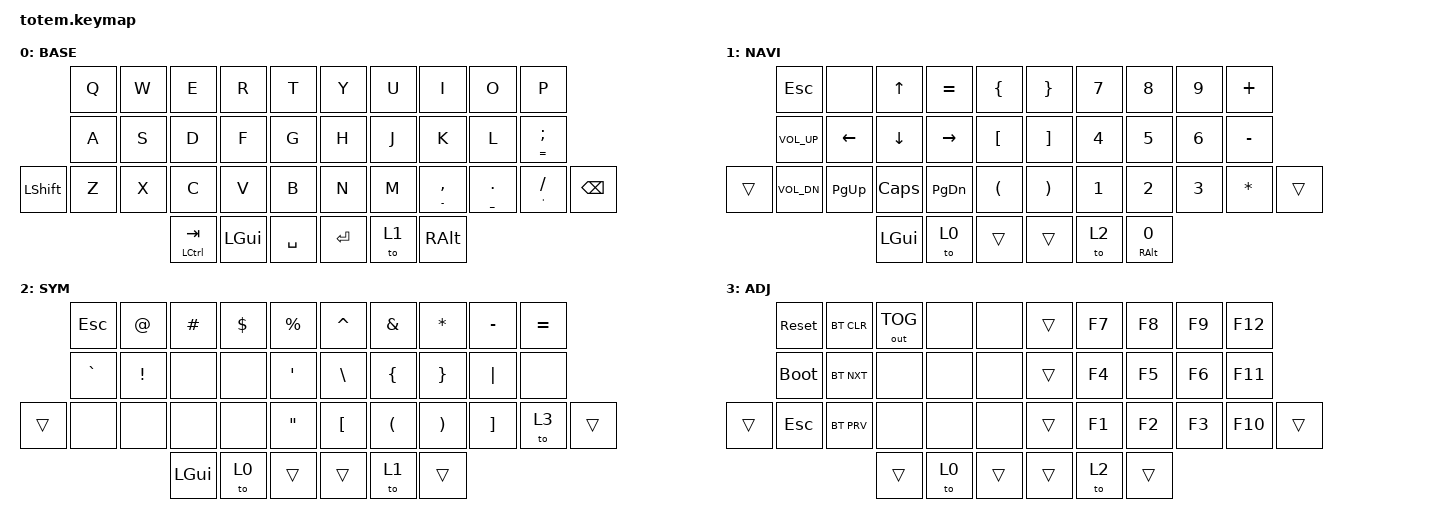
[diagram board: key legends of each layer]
//
//                                                        ▀▀▀▀▀     ▀▀▀▀▀          ▀▀█▀▀
//                                                        ▄▀▀▀▄  ▄  ▄▀▀▀▄  ▄  ▄▀▀▀▄  █  ▄▀▀▀▄
//                                                        █   █  █  █   █  █  █   █  █  █   █
//                                                         ▀▀▀   █   ▀▀▀   █   ▀▀▀   ▀   ▀▀▀
//                                                               █      ▄▄▄█▄▄▄    █   █  
//                                                               ▀      █  █  █     █▄█
//                                                             ▀▀▀▀▀    █  █  █      ▀
//                                                                      ▀  ▀  ▀
//
// ▄▄▄▄▄▄▄▄▄▄▄▄▄▄▄▄▄▄▄▄▄▄▄▄▄▄▄▄▄▄▄▄▄▄▄▄▄▄▄▄▄▄▄▄▄▄▄▄▄▄▄▄▄▄▄▄▄▄▄▄▄▄▄▄▄▄▄▄▄▄▄▄▄▄▄▄▄▄▄▄▄▄▄▄▄▄▄▄▄▄▄▄▄▄▄▄▄▄▄▄▄▄▄▄▄▄▄▄▄▄▄▄▄▄▄▄▄▄▄▄▄▄▄▄▄▄▄▄▄▄▄▄▄▄▄▄▄▄▄▄▄▄▄▄▄▄▄▄▄

#include <behaviors.dtsi>
#include <dt-bindings/zmk/bt.h>
#include <dt-bindings/zmk/keys.h>
#include <dt-bindings/zmk/outputs.h>

#define BASE 0
#define NAV  1
#define SYM  2
#define ADJ  3
#define TVP1 4
#define TVP2 5

&mt {
    quick-tap-ms = <100>;
    global-quick-tap;
    flavor = "tap-preferred";
    tapping-term-ms = <170>;
};

/ {
    combos { compatible = "zmk,combos"; };

    macros {
        gif: gif {
            label = "giphy";
            compatible = "zmk,behavior-macro";
            #binding-cells = <0>;
            bindings =
                <&macro_press>,
                <&kp LSHFT>,
                <&macro_tap>,
                <&kp N2>,
                <&macro_release>,
                <&kp LSHFT>,
                <&macro_tap>,
                <&kp G &kp I &kp F>;
        };
    };

    keymap {
        compatible = "zmk,keymap";

        // ▄▄▄▄▄▄▄▄▄▄▄▄▄▄▄▄▄▄▄▄▄▄▄▄▄▄▄▄▄▄▄▄▄▄▄▄▄▄▄▄▄▄▄▄▄▄▄▄▄▄▄▄▄▄▄▄▄▄▄▄▄▄▄▄▄▄▄▄▄▄▄▄▄▄▄▄▄▄▄▄▄▄▄▄▄▄▄▄▄▄▄▄▄▄▄▄▄▄▄▄▄▄▄▄▄▄▄▄▄▄▄▄▄▄▄▄▄▄▄▄▄▄▄▄▄▄▄▄▄▄▄▄▄▄▄▄▄▄▄▄▄▄▄▄▄▄▄▄▄

        base_layer {
            // ┏━━━━━━━━━━━━━━━━━━━━━━━━━━━━━━━━━━━━━━━┓

            label = "BASE";

            // ┗━━━━━━━━━━━━━━━━━━━━━━━━━━━━━━━━━━━━━━━┛
            //             ┏━━━━━━━━━━━┳━━━━━━━━━━━┳━━━━━━━━━━━┳━━━━━━━━━━━┳━━━━━━━━━━━┓   ┏━━━━━━━━━━━┳━━━━━━━━━━━┳━━━━━━━━━━━┳━━━━━━━━━━━┳━━━━━━━━━━━┓
            //             ┃     Q     ┃     W     ┃     F     ┃     P     ┃     G     ┃   ┃     J     ┃     L     ┃     U     ┃     Y     ┃     ;     ┃
            //             ┣━━━━━━━━━━━╋━━━━━━━━━━━╋━━━━━━━━━━━╋━━━━━━━━━━━╋━━━━━━━━━━━┫   ┣━━━━━━━━━━━╋━━━━━━━━━━━╋━━━━━━━━━━━╋━━━━━━━━━━━╋━━━━━━━━━━━┫
            //             ┃     A     ┃     R     ┃     S     ┃     T     ┃     D     ┃   ┃     H     ┃     N     ┃     E     ┃     I     ┃     O     ┃
            // ┏━━━━━━━━━━━╋━━━━━━━━━━━╋━━━━━━━━━━━╋━━━━━━━━━━━╋━━━━━━━━━━━╋━━━━━━━━━━━┫   ┣━━━━━━━━━━━╋━━━━━━━━━━━╋━━━━━━━━━━━╋━━━━━━━━━━━╋━━━━━━━━━━━╋━━━━━━━━━━━┓
            // ┃     Q     ┃     Z     ┃     X     ┃     C     ┃     V     ┃     B     ┃   ┃     K     ┃     M     ┃     ,     ┃     .     ┃     /     ┃     \     ┃
            // ┗━━━━━━━━━━━┻━━━━━━━━━━━┻━━━━━━━━━━━╋━━━━━━━━━━━╋━━━━━━━━━━━╋━━━━━━━━━━━┫   ┣━━━━━━━━━━━╋━━━━━━━━━━━╋━━━━━━━━━━━╋━━━━━━━━━━━┻━━━━━━━━━━━┻━━━━━━━━━━━┛
            //                                     ┃    DEL    ┃    TAB    ┃    SPC    ┃   ┃   ENTER   ┃           ┃   BSPC    ┃
            //                                     ┗━━━━━━━━━━━┻━━━━━━━━━━━┻━━━━━━━━━━━┛   ┗━━━━━━━━━━━┻━━━━━━━━━━━┻━━━━━━━━━━━┛

            bindings = <
            &kp Q  &kp W  &kp E                 &kp R     &kp T        &kp Y    &kp U  &kp I            &kp O          &kp P
            &kp A  &kp S  &kp D                 &kp F     &kp G        &kp H    &kp J  &kp K            &kp L          &mt EQUAL SEMI
&kp LSHIFT  &kp Z  &kp X  &kp C                 &kp V     &kp B        &kp N    &kp M  &mt MINUS COMMA  &mt UNDER DOT  &mt SINGLE_QUOTE FSLH  &kp BACKSPACE
                          &mt LEFT_CONTROL TAB  &kp LGUI  &kp SPACE    &kp RET  &to 1  &kp RIGHT_ALT
            >;
        };

        // ▄▄▄▄▄▄▄▄▄▄▄▄▄▄▄▄▄▄▄▄▄▄▄▄▄▄▄▄▄▄▄▄▄▄▄▄▄▄▄▄▄▄▄▄▄▄▄▄▄▄▄▄▄▄▄▄▄▄▄▄▄▄▄▄▄▄▄▄▄▄▄▄▄▄▄▄▄▄▄▄▄▄▄▄▄▄▄▄▄▄▄▄▄▄▄▄▄▄▄▄▄▄▄▄▄▄▄▄▄▄▄▄▄▄▄▄▄▄▄▄▄▄▄▄▄▄▄▄▄▄▄▄▄▄▄▄▄▄▄▄▄▄▄▄▄▄▄▄▄

        nav_layer {
            // ┏━━━━━━━━━━━━━━━━━━━━━━━━━━━━━━━━━━━━━━━┓

            label = "NAVI";

            // ┗━━━━━━━━━━━━━━━━━━━━━━━━━━━━━━━━━━━━━━━┛
            //             ┏━━━━━━━━━━━┳━━━━━━━━━━━┳━━━━━━━━━━━┳━━━━━━━━━━━┳━━━━━━━━━━━┓   ┏━━━━━━━━━━━┳━━━━━━━━━━━┳━━━━━━━━━━━┳━━━━━━━━━━━┳━━━━━━━━━━━┓
            //             ┃           ┃           ┃     UP    ┃           ┃     {     ┃   ┃     }     ┃     7     ┃     8     ┃     9     ┃     +     ┃
            //             ┣━━━━━━━━━━━╋━━━━━━━━━━━╋━━━━━━━━━━━╋━━━━━━━━━━━╋━━━━━━━━━━━┫   ┣━━━━━━━━━━━╋━━━━━━━━━━━╋━━━━━━━━━━━╋━━━━━━━━━━━╋━━━━━━━━━━━┫
            //             ┃   SHIFT   ┃   LEFT    ┃    DOWN   ┃   RIGHT   ┃     [     ┃   ┃     ]     ┃     4     ┃     5     ┃     6     ┃     -     ┃
            // ┏━━━━━━━━━━━╋━━━━━━━━━━━╋━━━━━━━━━━━╋━━━━━━━━━━━╋━━━━━━━━━━━╋━━━━━━━━━━━┫   ┣━━━━━━━━━━━╋━━━━━━━━━━━╋━━━━━━━━━━━╋━━━━━━━━━━━╋━━━━━━━━━━━╋━━━━━━━━━━━┓
            // ┃           ┃           ┃   P UP    ┃  C LOCK   ┃  P DOWN   ┃     (     ┃   ┃     )     ┃     1     ┃     2     ┃     3     ┃     *     ┃           ┃
            // ┗━━━━━━━━━━━┻━━━━━━━━━━━┻━━━━━━━━━━━╋━━━━━━━━━━━╋━━━━━━━━━━━╋━━━━━━━━━━━┫   ┣━━━━━━━━━━━╋━━━━━━━━━━━╋━━━━━━━━━━━╋━━━━━━━━━━━┻━━━━━━━━━━━┻━━━━━━━━━━━┛
            //                                     ┃           ┃    TAB    ┃    SPC    ┃   ┃    DEL    ┃     0     ┃           ┃
            //                                     ┗━━━━━━━━━━━┻━━━━━━━━━━━┻━━━━━━━━━━━┛   ┗━━━━━━━━━━━┻━━━━━━━━━━━┻━━━━━━━━━━━┛

            bindings = <
        &kp ESC       &none      &kp UP        &kp EQUAL  &kp LBRC    &kp RBRC  &kp NUMBER_7  &kp NUMBER_8            &kp NUMBER_9  &kp PLUS
        &kp C_VOL_UP  &kp LEFT   &kp DOWN      &kp RIGHT  &kp LBKT    &kp RBKT  &kp NUMBER_4  &kp NUMBER_5            &kp NUMBER_6  &kp MINUS
&trans  &kp C_VOL_DN  &kp PG_UP  &kp CAPS      &kp PG_DN  &kp LPAR    &kp RPAR  &kp NUMBER_1  &kp NUMBER_2            &kp NUMBER_3  &kp ASTERISK  &trans
                                 &kp LEFT_GUI  &to 0      &trans      &trans    &to 2         &mt RIGHT_ALT NUMBER_0
            >;
        };

        // ▄▄▄▄▄▄▄▄▄▄▄▄▄▄▄▄▄▄▄▄▄▄▄▄▄▄▄▄▄▄▄▄▄▄▄▄▄▄▄▄▄▄▄▄▄▄▄▄▄▄▄▄▄▄▄▄▄▄▄▄▄▄▄▄▄▄▄▄▄▄▄▄▄▄▄▄▄▄▄▄▄▄▄▄▄▄▄▄▄▄▄▄▄▄▄▄▄▄▄▄▄▄▄▄▄▄▄▄▄▄▄▄▄▄▄▄▄▄▄▄▄▄▄▄▄▄▄▄▄▄▄▄▄▄▄▄▄▄▄▄▄▄▄▄▄▄▄▄▄

        sim_layer {
            // ┏━━━━━━━━━━━━━━━━━━━━━━━━━━━━━━━━━━━━━━━┓

            label = "SYM";

            // ┗━━━━━━━━━━━━━━━━━━━━━━━━━━━━━━━━━━━━━━━┛
            //             ┏━━━━━━━━━━━┳━━━━━━━━━━━┳━━━━━━━━━━━┳━━━━━━━━━━━┳━━━━━━━━━━━┓   ┏━━━━━━━━━━━┳━━━━━━━━━━━┳━━━━━━━━━━━┳━━━━━━━━━━━┳━━━━━━━━━━━┓
            //             ┃     !     ┃     @     ┃     #     ┃     $     ┃     %     ┃   ┃     ˆ     ┃     &     ┃     Ü     ┃     '     ┃     "     ┃
            //             ┣━━━━━━━━━━━╋━━━━━━━━━━━╋━━━━━━━━━━━╋━━━━━━━━━━━╋━━━━━━━━━━━┫   ┣━━━━━━━━━━━╋━━━━━━━━━━━╋━━━━━━━━━━━╋━━━━━━━━━━━╋━━━━━━━━━━━┫
            //             ┃     Ä     ┃           ┃    SZ     ┃           ┃           ┃   ┃   MUTE    ┃   YEN     ┃   EURO    ┃  POUND    ┃     Ö     ┃
            // ┏━━━━━━━━━━━╋━━━━━━━━━━━╋━━━━━━━━━━━╋━━━━━━━━━━━╋━━━━━━━━━━━╋━━━━━━━━━━━┫   ┣━━━━━━━━━━━╋━━━━━━━━━━━╋━━━━━━━━━━━╋━━━━━━━━━━━╋━━━━━━━━━━━╋━━━━━━━━━━━┓
            // ┃           ┃  EMAIL1   ┃  EMAIL2   ┃           ┃           ┃           ┃   ┃   VOL-    ┃   VOL+    ┃   LAST    ┃   NEXT    ┃     \     ┃           ┃
            // ┗━━━━━━━━━━━┻━━━━━━━━━━━┻━━━━━━━━━━━╋━━━━━━━━━━━╋━━━━━━━━━━━╋━━━━━━━━━━━┫   ┣━━━━━━━━━━━╋━━━━━━━━━━━╋━━━━━━━━━━━╋━━━━━━━━━━━┻━━━━━━━━━━━┻━━━━━━━━━━━┛
            //                                     ┃           ┃    GIF    ┃    ADJ    ┃   ┃           ┃           ┃           ┃
            //                                     ┗━━━━━━━━━━━┻━━━━━━━━━━━┻━━━━━━━━━━━┛   ┗━━━━━━━━━━━┻━━━━━━━━━━━┻━━━━━━━━━━━┛

            bindings = <
        &kp ESC    &kp AT    &kp HASH  &kp DLLR  &kp PRCNT            &kp CARET      &kp AMPS              &kp ASTRK              &kp MINUS  &kp EQUAL
        &kp GRAVE  &kp EXCL  &none     &none     &kp SINGLE_QUOTE     &kp BACKSLASH  &kp LBRC              &kp RBRC               &kp PIPE   &none
&trans  &none      &none     &none     &none     &kp DOUBLE_QUOTES    &kp LBKT       &kp LEFT_PARENTHESIS  &kp RIGHT_PARENTHESIS  &kp RBKT   &to 3      &trans
                             &kp LGUI  &to 0     &trans               &trans         &to 1                 &trans
            >;
        };

        // ▄▄▄▄▄▄▄▄▄▄▄▄▄▄▄▄▄▄▄▄▄▄▄▄▄▄▄▄▄▄▄▄▄▄▄▄▄▄▄▄▄▄▄▄▄▄▄▄▄▄▄▄▄▄▄▄▄▄▄▄▄▄▄▄▄▄▄▄▄▄▄▄▄▄▄▄▄▄▄▄▄▄▄▄▄▄▄▄▄▄▄▄▄▄▄▄▄▄▄▄▄▄▄▄▄▄▄▄▄▄▄▄▄▄▄▄▄▄▄▄▄▄▄▄▄▄▄▄▄▄▄▄▄▄▄▄▄▄▄▄▄▄▄▄▄▄▄▄▄

        adjust_layer {
            // ┏━━━━━━━━━━━━━━━━━━━━━━━━━━━━━━━━━━━━━━━┓

            label = "ADJ";

            // ┗━━━━━━━━━━━━━━━━━━━━━━━━━━━━━━━━━━━━━━━┛
            //             ┏━━━━━━━━━━━┳━━━━━━━━━━━┳━━━━━━━━━━━┳━━━━━━━━━━━┳━━━━━━━━━━━┓   ┏━━━━━━━━━━━┳━━━━━━━━━━━┳━━━━━━━━━━━┳━━━━━━━━━━━┳━━━━━━━━━━━┓
            //             ┃   RESET   ┃ BT CLEAR  ┃  OUT TOG  ┃           ┃           ┃   ┃           ┃    F7     ┃    F8     ┃    F9     ┃    F12    ┃
            //             ┣━━━━━━━━━━━╋━━━━━━━━━━━╋━━━━━━━━━━━╋━━━━━━━━━━━╋━━━━━━━━━━━┫   ┣━━━━━━━━━━━╋━━━━━━━━━━━╋━━━━━━━━━━━╋━━━━━━━━━━━╋━━━━━━━━━━━┫
            //             ┃ BOOTLOAD  ┃ BT NEXT   ┃           ┃           ┃           ┃   ┃           ┃    F4     ┃    F5     ┃    F6     ┃    F11    ┃
            // ┏━━━━━━━━━━━╋━━━━━━━━━━━╋━━━━━━━━━━━╋━━━━━━━━━━━╋━━━━━━━━━━━╋━━━━━━━━━━━┫   ┣━━━━━━━━━━━╋━━━━━━━━━━━╋━━━━━━━━━━━╋━━━━━━━━━━━╋━━━━━━━━━━━╋━━━━━━━━━━━┓
            // ┃           ┃           ┃ BT PREV   ┃           ┃           ┃           ┃   ┃           ┃    F1     ┃    F2     ┃    F3     ┃    F10    ┃           ┃
            // ┗━━━━━━━━━━━┻━━━━━━━━━━━┻━━━━━━━━━━━╋━━━━━━━━━━━╋━━━━━━━━━━━╋━━━━━━━━━━━┫   ┣━━━━━━━━━━━╋━━━━━━━━━━━╋━━━━━━━━━━━╋━━━━━━━━━━━┻━━━━━━━━━━━┻━━━━━━━━━━━┛
            //                                     ┃           ┃           ┃           ┃   ┃           ┃           ┃           ┃
            //                                     ┗━━━━━━━━━━━┻━━━━━━━━━━━┻━━━━━━━━━━━┛   ┗━━━━━━━━━━━┻━━━━━━━━━━━┻━━━━━━━━━━━┛

            bindings = <
        &sys_reset   &bt BT_CLR  &out OUT_TOG  &none  &none     &trans  &kp F7  &kp F8  &kp F9  &kp F12
        &bootloader  &bt BT_NXT  &none         &none  &none     &trans  &kp F4  &kp F5  &kp F6  &kp F11
&trans  &kp ESC      &bt BT_PRV  &none         &none  &none     &trans  &kp F1  &kp F2  &kp F3  &kp F10  &trans
                                 &trans        &to 0  &trans    &trans  &to 2   &trans
            >;
        };

        // ▄▄▄▄▄▄▄▄▄▄▄▄▄▄▄▄▄▄▄▄▄▄▄▄▄▄▄▄▄▄▄▄▄▄▄▄▄▄▄▄▄▄▄▄▄▄▄▄▄▄▄▄▄▄▄▄▄▄▄▄▄▄▄▄▄▄▄▄▄▄▄▄▄▄▄▄▄▄▄▄▄▄▄▄▄▄▄▄▄▄▄▄▄▄▄▄▄▄▄▄▄▄▄▄▄▄▄▄▄▄▄▄▄▄▄▄▄▄▄▄▄▄▄▄▄▄▄▄▄▄▄▄▄▄▄▄▄▄▄▄▄▄▄▄▄▄▄▄▄
        // ▄▄▄▄▄▄▄▄▄▄▄▄▄▄▄▄▄▄▄▄▄▄▄▄▄▄▄▄▄▄▄▄▄▄▄▄▄▄▄▄▄▄▄▄▄▄▄▄▄▄▄▄▄▄▄▄▄▄▄▄▄▄▄▄▄▄▄▄▄▄▄▄▄▄▄▄▄▄▄▄▄▄▄▄▄▄▄▄▄▄▄▄▄▄▄▄▄▄▄▄▄▄▄▄▄▄▄▄▄▄▄▄▄▄▄▄▄▄▄▄▄▄▄▄▄▄▄▄▄▄▄▄▄▄▄▄▄▄▄▄▄▄▄▄▄▄▄▄▄
    };
};
